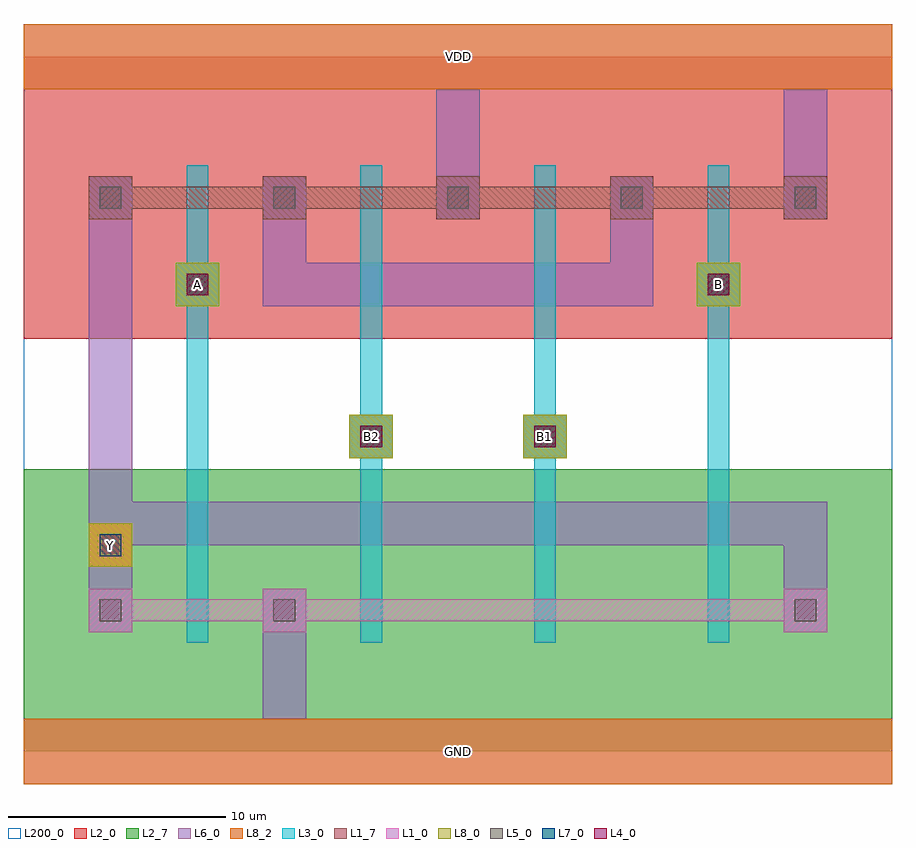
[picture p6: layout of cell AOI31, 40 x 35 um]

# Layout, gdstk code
import gdstk
lib = gdstk.Library(unit=1e-6, precision=1e-09)
def R(c, l, rs):  # rectangles x0, y0, x1, y1
    for r in rs: c.add(gdstk.rectangle(r[:2], r[2:], *l))
def A(c, l, x, y, w, h, nx, ny, dx, dy):  # array of equal rectangles
    R(c, l, [(x+i*dx, y+j*dy, x+i*dx+w, y+j*dy+h) for i in range(nx) for j in range(ny)])
def P(c, l, *ps):  # polygons
    for p in ps: c.add(gdstk.Polygon(p, *l))
L1_0 = (1, 0)
L1_7 = (1, 7)
L2_0 = (2, 0)
L2_7 = (2, 7)
L3_0 = (3, 0)
L4_0 = (4, 0)
L5_0 = (5, 0)
L6_0 = (6, 0)
L7_0 = (7, 0)
L8_0 = (8, 0)
L8_2 = (8, 2)
L200_0 = (200, 0)

aoi31 = lib.new_cell('AOI31')
P(aoi31, L1_0, [(3,5.5),(3,7.5),(5,7.5),(5,7),(11,7),(11,7.5),(13,7.5),(13,7),(35,7),(35,7.5),(37,7.5),(37,5.5),(35,5.5),(35,6),(13,6),(13,5.5),(11,5.5),(11,6),(5,6),(5,5.5)])
P(aoi31, L1_7, [(3,24.5),(3,26.5),(5,26.5),(5,26),(11,26),(11,26.5),(13,26.5),(13,26),(19,26),(19,26.5),(21,26.5),(21,26),(27,26),(27,26.5),(29,26.5),(29,26),(35,26),(35,26.5),(37,26.5),(37,24.5),(35,24.5),(35,25),(29,25),(29,24.5),(27,24.5),(27,25),(21,25),(21,24.5),(19,24.5),(19,25),(13,25),(13,24.5),(11,24.5),(11,25),(5,25),(5,24.5)])
R(aoi31, L2_0, [(0,19,40,32)])
R(aoi31, L2_7, [(0,0,40,13)])
P(aoi31, L3_0, [(7.5,5),(7.5,20.5),(7,20.5),(7,22.5),(7.5,22.5),(7.5,27),(8.5,27),(8.5,22.5),(9,22.5),(9,20.5),(8.5,20.5),(8.5,5)],
  [(15.5,5),(15.5,13.5),(15,13.5),(15,15.5),(15.5,15.5),(15.5,27),(16.5,27),(16.5,15.5),(17,15.5),(17,13.5),(16.5,13.5),(16.5,5)],
  [(23.5,5),(23.5,13.5),(23,13.5),(23,15.5),(23.5,15.5),(23.5,27),(24.5,27),(24.5,15.5),(25,15.5),(25,13.5),(24.5,13.5),(24.5,5)],
  [(31.5,5),(31.5,20.5),(31,20.5),(31,22.5),(31.5,22.5),(31.5,27),(32.5,27),(32.5,22.5),(33,22.5),(33,20.5),(32.5,20.5),(32.5,5)])
R(aoi31, L4_0, [(15.5,14,16.5,15), (23.5,14,24.5,15), (7.5,21,8.5,22), (31.5,21,32.5,22)])
A(aoi31, L5_0, 3.5, 25, 1, 1, 5, 1, 8, 0)
R(aoi31, L5_0, [(3.5,6,4.5,7), (11.5,6,12.5,7), (35.5,6,36.5,7)])
R(aoi31, L6_0, [(15,13.5,17,15.5), (23,13.5,25,15.5), (7,20.5,9,22.5), (31,20.5,33,22.5)])
P(aoi31, L6_0, [(0,-1.5),(0,1.5),(11,1.5),(11,7.5),(13,7.5),(13,1.5),(40,1.5),(40,-1.5)],
  [(3,5.5),(3,26.5),(5,26.5),(5,11.5),(37,11.5),(37,5.5),(35,5.5),(35,9.5),(5,9.5),(5,5.5)],
  [(11,20.5),(11,26.5),(13,26.5),(13,22.5),(27,22.5),(27,26.5),(29,26.5),(29,20.5)],
  [(19,24.5),(19,30.5),(0,30.5),(0,33.5),(40,33.5),(40,30.5),(37,30.5),(37,24.5),(35,24.5),(35,30.5),(21,30.5),(21,24.5)])
R(aoi31, L7_0, [(3.5,9,4.5,10), (15.5,14,16.5,15), (23.5,14,24.5,15), (7.5,21,8.5,22), (31.5,21,32.5,22)])
R(aoi31, L8_0, [(3,8.5,5,10.5), (15,13.5,17,15.5), (23,13.5,25,15.5), (7,20.5,9,22.5), (31,20.5,33,22.5)])
R(aoi31, L8_2, [(3,8.5,5,10.5), (15,13.5,17,15.5), (23,13.5,25,15.5), (7,20.5,9,22.5), (31,20.5,33,22.5)])
R(aoi31, L200_0, [(0,0,40,32)])
aoi31.add(gdstk.FlexPath([(0,32),(40,32)], 3, ends="flush", simple_path=True, layer=8, datatype=2))  # L8_2
aoi31.add(gdstk.FlexPath([(0,0),(40,0)], 3, ends="flush", simple_path=True, layer=8, datatype=2))  # L8_2
aoi31.add(gdstk.Label('GND', (20,0), layer=6, texttype=1))
aoi31.add(gdstk.Label('VDD', (20,32), layer=6, texttype=1))
aoi31.add(gdstk.Label('A', (8,21.5), layer=8, texttype=1))
aoi31.add(gdstk.Label('B2', (16,14.5), layer=8, texttype=1))
aoi31.add(gdstk.Label('B1', (24,14.5), layer=8, texttype=1))
aoi31.add(gdstk.Label('B', (32,21.5), layer=8, texttype=1))
aoi31.add(gdstk.Label('Y', (4,9.5), layer=8, texttype=1))

lib.write_gds('AOI31.gds')
